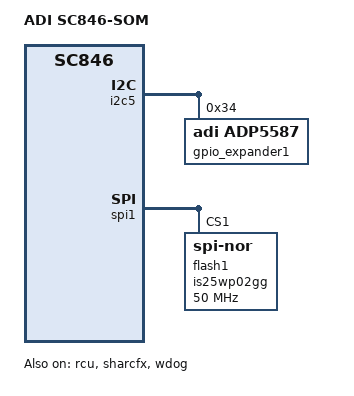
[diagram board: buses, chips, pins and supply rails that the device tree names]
// SPDX-License-Identifier: GPL-2.0-or-later
/*
 * (C) Copyright 2026 - Analog Devices, Inc.
 */

/dts-v1/;

#include "sc846.dtsi"

/ {
	model = "ADI SC846-SOM";
	compatible = "adi,sc846-som", "adi,sc846-64";

	aliases {
		spi0 = "/ospi";
		spi1 = "/spi1";
	};
};

&rcu {
	status = "okay";
};

&sharcfx {
	status = "okay";
};

&uart0 {
	clocks = <&clk ADSP_SC846_CLK_CGU0_SCLK0>;
};

&wdog {
	clocks = <&clk ADSP_SC846_CLK_CGU0_SCLK0>;
	secid = <235>;
	status = "okay";
};

&i2c0 {
	clocks = <&clk ADSP_SC846_CLK_CGU0_SCLK0>;
};

&i2c1 {
	clocks = <&clk ADSP_SC846_CLK_CGU0_SCLK0>;
};

&i2c2 {
	clocks = <&clk ADSP_SC846_CLK_CGU0_SCLK0>;
};

&i2c3 {
	clocks = <&clk ADSP_SC846_CLK_CGU0_SCLK0>;
};

&i2c4 {
	clocks = <&clk ADSP_SC846_CLK_CGU0_SCLK0>;
};

&i2c5 {
	clocks = <&clk ADSP_SC846_CLK_CGU0_SCLK0>;
	status = "okay";

	gpio_expander1: adp5587@34 {
		compatible = "adi,adp5587";
		reg = <0x34>;
		gpio-controller;
		#gpio-cells = <2>;
		bootph-pre-ram;

		uart0-flow {
			gpio-hog;
			gpios = <0 GPIO_ACTIVE_LOW>;
			output-low;
			line-name = "uart0-flow-en";
			bootph-pre-ram;
		};

		uart0 {
			gpio-hog;
			gpios = <1 GPIO_ACTIVE_LOW>;
			output-high;
			line-name = "uart0-en";
			bootph-pre-ram;
		};

		sd-card {
			gpio-hog;
			gpios = <2 GPIO_ACTIVE_HIGH>;
			output-high;
			line-name = "sd-card-en";
		};

		usb-phy {
			gpio-hog;
			gpios = <3 GPIO_ACTIVE_LOW>;
			output-high;
			line-name = "usb-phy-reset";
		};

		led-ds4 {
			gpio-hog;
			gpios = <15 GPIO_ACTIVE_LOW>;
			output-high;
			line-name = "led-ds4";
			bootph-pre-ram;
		};

		led-ds3 {
			gpio-hog;
			gpios = <16 GPIO_ACTIVE_LOW>;
			output-high;
			line-name = "led-ds3";
		};

		led-ds2 {
			gpio-hog;
			gpios = <17 GPIO_ACTIVE_LOW>;
			output-high;
			line-name = "led-ds2";
		};
	};
};

&spi1 {
	clocks = <&clk ADSP_SC846_CLK_SPI>;

	flash1: is25wp02gg@1 {
		#address-cells = <1>;
		#size-cells = <1>;
		compatible = "jedec,spi-nor", "is25wp02gg";
		reg = <1>;
		spi-tx-bus-width = <4>;
		spi-rx-bus-width = <4>;
		spi-max-frequency = <50000000>;
		bootph-pre-ram;
	};
};

&timer0 {
	clocks = <&clk ADSP_SC846_CLK_CGU0_SCLK0>;
};
